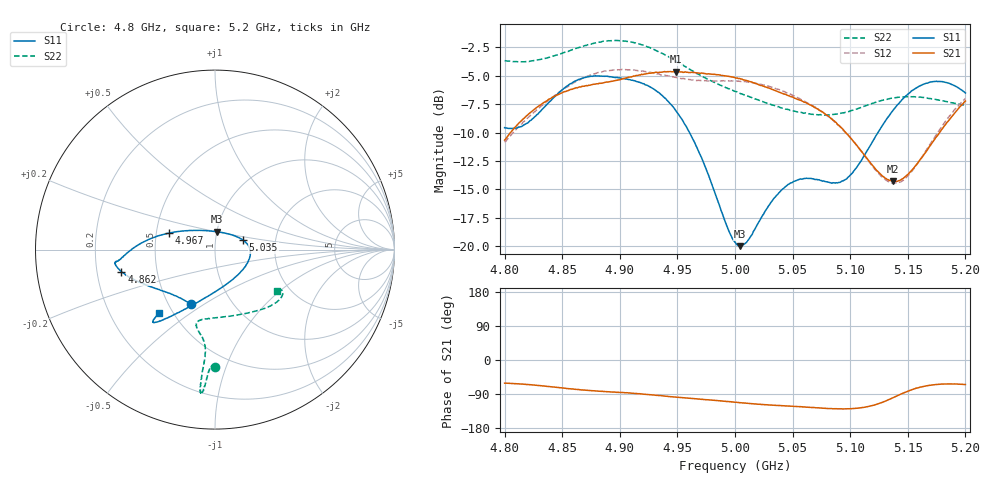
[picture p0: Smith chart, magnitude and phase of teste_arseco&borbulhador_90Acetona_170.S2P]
! Network Analyzer HP8722D
! Hewlett-Packard
! Data name: Linha & Wilkinson
! Saver's name: Rodrigo Anjos
! Comments: Teste da utilização de aquisição
! continua pelo VNA HP8722D
! Time and date: 17/4/2025 12:28
!  Frequency  S11  S21  S12  S22
# HZ  S  MA R 50
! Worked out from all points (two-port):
!   401 points, 4.8 GHz to 5.2 GHz, reference 50 ohm
!   highest |S21| = -4.62 dB at 4.949 GHz (marker M1); lowest = -14.3 dB at 5.137 GHz (marker M2)
!   |S21| within 3 dB of the highest: 4.83 GHz to 5.066 GHz (236.1 MHz wide, 4.77 % of centre); 5.196318 GHz to end of sweep
!   lowest |S11| = -20.0 dB at 5.004 GHz (marker M3), VSWR 1.22, Z = 50 + j10 ohm
!   |S11| at or under -10 dB: 4.961 GHz to 5.124 GHz (163.5 MHz wide, 3.24 % of centre)
!   |S22| runs from -8.5 to -1.9 dB; largest |S21 - S12| = 0.88
!   S11 on the Smith chart (normalised r, x): 4.8 GHz: 0.64, -0.44; 4.862 GHz: 0.31, -0.11; 4.967 GHz: 0.58, +0.12; 5.035 GHz: 1.36, +0.15; 5.2 GHz: 0.42, -0.38
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4.8e9  0.3324 -114.2  0.293 -61.2  0.2868 -175.3  0.656 -90.0
4.819e9  0.347 -134.2  0.3746 -64.6  0.3622 -174.0  0.651 -91.6
4.862e9  0.5357 -166.6  0.4989 -77.4  0.5311 -177.3  0.7433 -94.0
4.867e9  0.548 -168.7  0.505 -79.0  0.5461 -178.3  0.7585 -94.2
4.9e9  0.5509 -173.2  0.5402 -85.5  0.598 175.2  0.8032 -95.7
4.934e9  0.4743 -179.3  0.5819 -93.9  0.5735 171.5  0.7162 -96.1
4.949e9  0.3934 173.2  0.5876 -97.8  0.5532 171.9  0.653 -95.7
4.967e9  0.2715 160.1  0.5797 -102.6  0.536 173.6  0.5749 -95.4
5e9  0.104 98.3  0.5517 -111.5  0.5348 176.0  0.4802 -99.5
5.004e9  0.09987 84.5  0.5474 -112.6  0.5321 175.9  0.472 -100.4
5.012e9  0.1071 59.2  0.5322 -114.5  0.5272 175.7  0.4563 -102.1
5.035e9  0.1645 18.9  0.4847 -119.8  0.4952 174.4  0.4146 -103.6
5.05e9  0.191 3.7  0.4536 -122.1  0.4606 173.8  0.3942 -99.7
5.067e9  0.1981 -14.4  0.4147 -125.3  0.4166 173.4  0.3811 -90.7
5.085e9  0.1901 -42.6  0.359 -128.6  0.3587 173.4  0.3801 -77.3
5.097e9  0.1979 -67.2  0.3124 -128.9  0.313 174.5  0.3892 -67.4
5.134e9  0.3765 -117.4  0.1945 -103.9  0.1909 -156.9  0.4462 -43.2
5.137e9  0.3952 -119.2  0.1925 -99.7  0.1895 -152.0  0.4493 -41.9
5.15e9  0.4664 -125.1  0.2067 -82.5  0.2035 -132.0  0.455 -36.9
5.17e9  0.5284 -129.7  0.2795 -66.4  0.284 -112.6  0.4465 -32.2
5.184e9  0.5246 -131.0  0.3503 -63.3  0.3613 -107.5  0.4328 -31.3
5.2e9  0.4727 -131.5  0.4353 -64.7  0.4466 -106.8  0.4163 -33.6
